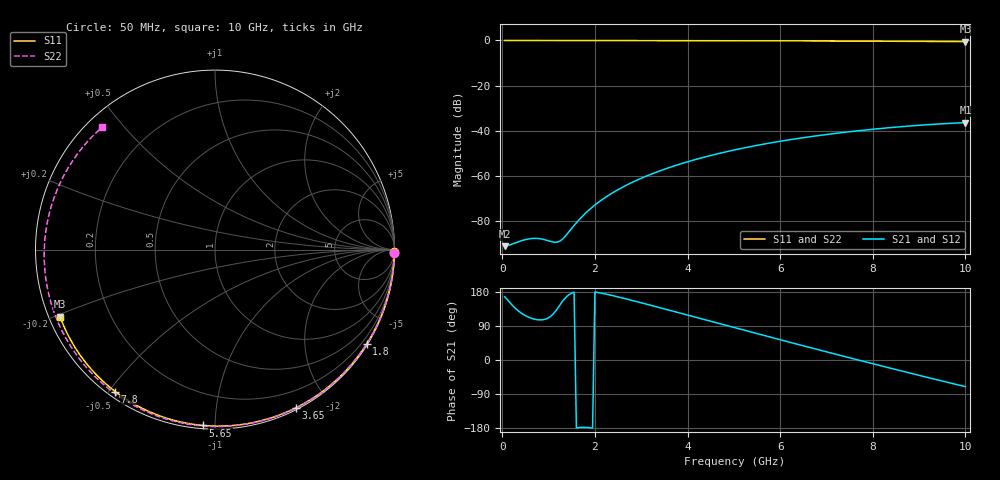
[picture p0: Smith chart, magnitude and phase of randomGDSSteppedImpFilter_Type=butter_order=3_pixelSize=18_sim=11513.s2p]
! freq	dB(S11)	phase(S11)	dB(S12)	phase(S12)
!  dB(S21)	phase(S21)	dB(S22)	phase(S22)
!S-par simulation data
#  GHz  S  DB  R 50
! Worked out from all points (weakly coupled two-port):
!   200 points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, 50 MHz to 10 GHz, reference 50 ohm
!   highest |S21| = -36.37 dB at 10 GHz (marker M1); lowest = -91.1 dB at 50 MHz (marker M2)
!   lowest |S11| = -0.5 dB at 10 GHz (marker M3), VSWR 32.75, Z = 1.59 - j10.4 ohm
!   |S11| at or under -10 dB: nowhere
!   |S22| runs from -0.7 to 0.0 dB; largest |S21 - S12| = 0
!   S11 on the Smith chart (normalised r, x): 50 MHz: open; 1.8 GHz: 0.03, -3.51; 3.65 GHz: 0.02, -1.64; 5.65 GHz: 0.02, -0.93; 7.8 GHz: 0.02, -0.52; 10 GHz: 0.03, -0.21
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0.05  -0.01 -0.9  -91.07 167.0  -91.07 167.0  -0.00 -1.2
0.8  -0.02 -14.3  -87.74 105.9  -87.74 105.9  -0.02 -19.2
1.6  -0.04 -28.4  -80.71 -179.3  -80.71 -179.3  -0.05 -37.9
1.65  -0.04 -29.2  -79.56 -178.3  -79.56 -178.3  -0.05 -39.1
1.75  -0.04 -31.0  -77.41 -177.6  -77.41 -177.6  -0.05 -41.4
1.8  -0.04 -31.8  -76.41 -177.8  -76.41 -177.8  -0.05 -42.6
2.1  -0.05 -37.0  -71.29 177.4  -71.29 177.4  -0.06 -49.4
2.45  -0.06 -43.0  -66.63 168.0  -66.63 168.0  -0.07 -57.4
2.9  -0.07 -50.5  -61.92 154.2  -61.92 154.2  -0.09 -67.4
3.4  -0.08 -58.8  -57.75 138.1  -57.75 138.1  -0.10 -78.3
3.65  -0.09 -62.8  -55.96 130.0  -55.96 130.0  -0.11 -83.7
4.35  -0.11 -74.0  -51.72 107.1  -51.72 107.1  -0.14 -98.6
5.05  -0.13 -84.9  -48.31 84.3  -48.31 84.3  -0.18 -113.1
5.65  -0.16 -93.9  -45.88 64.8  -45.88 64.8  -0.21 -125.5
6.7  -0.21 -109.3  -42.46 31.1  -42.46 31.1  -0.29 -147.4
7.25  -0.25 -117.2  -41.00 13.6  -41.00 13.6  -0.34 -159.2
7.8  -0.29 -125.1  -39.73 -3.6  -39.73 -3.6  -0.39 -171.3
8.35  -0.34 -132.9  -38.64 -20.7  -38.64 -20.7  -0.45 175.9
8.8  -0.39 -139.3  -37.86 -34.5  -37.86 -34.5  -0.51 165.0
9.2  -0.43 -145.0  -37.27 -46.6  -37.27 -46.6  -0.55 154.7
9.6  -0.48 -150.7  -36.78 -58.5  -36.78 -58.5  -0.60 144.0
10  -0.53 -156.6  -36.37 -70.2  -36.37 -70.2  -0.65 132.6
